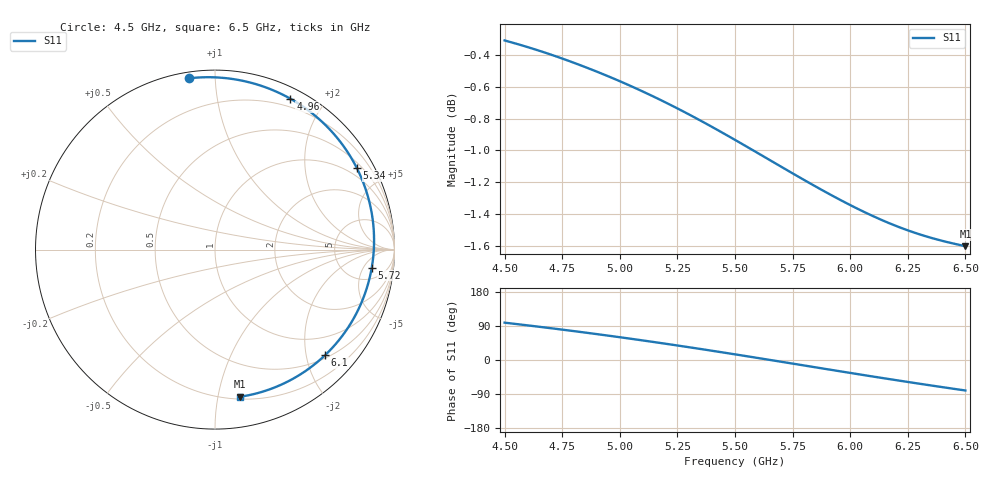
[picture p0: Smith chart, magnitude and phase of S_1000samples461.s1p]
! TOUCHSTONE file generated by CST MICROWAVE STUDIO
! Date and time: Fri Oct 28 06:08:02 2022
! Project name: L.cst
! Parameters = {Di=1.27; Epsilon_r=1.56; InnerDiameter=1.27; Length=2; Lf=10; Lg=60; OuterConductorThickness=0.2921; OuterDiameter=3.6; Wf=3; Wp=41.2; de=1.5; df=6.8; g=0.8; gx=4.86809; gy=4.86448; h=2.34; hf=1.524; px=11.5614; py=11.799; w=9.7; wx=6.69329; wy=6.93454}
! Header version: 2018
! Port assignment regex: !\s*Touchstone port\s*([0-9]+)\s*=\s*(CST MWS port|CST DS port)\s*([0-9]+|Zmin|Zmax)\s*\(\"(.*)\"\)(\s*mode\s*([0-9]+))?.*
! Touchstone port assignment:
! Touchstone port 1 = CST MWS port 1 ("")
# GHz S DB R 50
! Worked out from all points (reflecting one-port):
!   101 points, 4.5 GHz to 6.5 GHz, reference 50 ohm
!   lowest |S11| = -1.6 dB at 6.5 GHz (marker M1), VSWR 10.87, Z = 10.9 - j57.9 ohm
!   phase of S11 starts at 99 deg and turns -179 deg over the sweep
!   S11 on the Smith chart (normalised r, x): 4.5 GHz: 0.03, +0.86; 4.96 GHz: 0.11, +1.61; 5.34 GHz: 0.67, +3.61; 5.72 GHz: 9, -8; 6.1 GHz: 0.56, -2.38; 6.5 GHz: 0.22, -1.16
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4.5  -0.31 98.5
4.58  -0.34 92.8
4.64  -0.37 88.4
4.76  -0.43 79.4
4.86  -0.48 71.5
4.96  -0.54 63.4
5  -0.56 60.1
5.12  -0.64 49.8
5.18  -0.68 44.6
5.26  -0.74 37.4
5.34  -0.80 30.0
5.42  -0.87 22.5
5.5  -0.93 14.9
5.56  -0.98 9.1
5.62  -1.03 3.3
5.72  -1.12 -6.5
5.76  -1.15 -10.5
5.82  -1.20 -16.4
5.88  -1.25 -22.3
5.94  -1.30 -28.2
6  -1.34 -34.1
6.1  -1.41 -43.7
6.18  -1.46 -51.4
6.26  -1.51 -58.8
6.32  -1.54 -64.4
6.38  -1.56 -69.8
6.44  -1.58 -75.2
6.5  -1.60 -80.4
